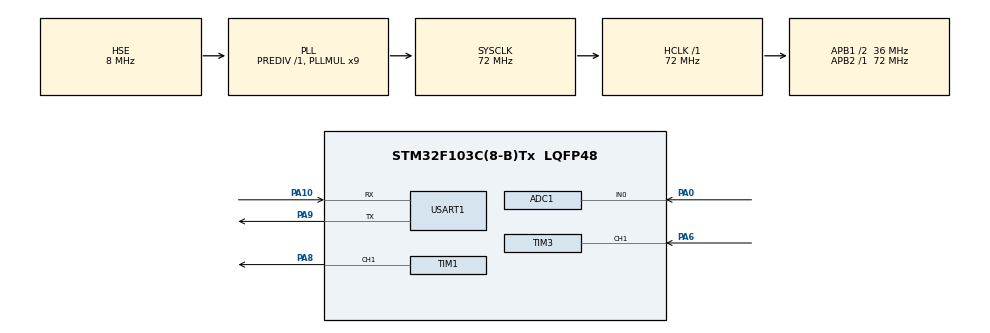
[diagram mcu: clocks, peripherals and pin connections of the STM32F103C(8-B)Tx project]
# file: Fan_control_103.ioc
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ADC1.Channel-0\#ChannelRegularConversion=ADC_CHANNEL_0
ADC1.ContinuousConvMode=ENABLE
ADC1.NbrOfConversionFlag=1
ADC1.Rank-0\#ChannelRegularConversion=1
ADC1.SamplingTime-0\#ChannelRegularConversion=ADC_SAMPLETIME_1CYCLE_5
ADC1.master=1
Dma.ADC1.0.Direction=DMA_PERIPH_TO_MEMORY
Dma.ADC1.0.Instance=DMA1_Channel1
Dma.ADC1.0.MemDataAlignment=DMA_MDATAALIGN_HALFWORD
Dma.ADC1.0.MemInc=DMA_MINC_ENABLE
Dma.ADC1.0.Mode=DMA_CIRCULAR
Dma.ADC1.0.PeriphDataAlignment=DMA_PDATAALIGN_HALFWORD
Dma.ADC1.0.PeriphInc=DMA_PINC_DISABLE
Dma.ADC1.0.Priority=DMA_PRIORITY_LOW
Dma.Request0=ADC1
Dma.Request1=TIM1_CH1
Dma.TIM1_CH1.1.Direction=DMA_MEMORY_TO_PERIPH
Dma.TIM1_CH1.1.Instance=DMA1_Channel2
Dma.TIM1_CH1.1.MemDataAlignment=DMA_MDATAALIGN_HALFWORD
Dma.TIM1_CH1.1.MemInc=DMA_MINC_ENABLE
Dma.TIM1_CH1.1.Mode=DMA_CIRCULAR
Dma.TIM1_CH1.1.PeriphDataAlignment=DMA_PDATAALIGN_HALFWORD
Dma.TIM1_CH1.1.PeriphInc=DMA_PINC_DISABLE
Dma.TIM1_CH1.1.Priority=DMA_PRIORITY_LOW
FREERTOS.Tasks01=defaultTask,0,256,StartDefaultTask,Default,NULL,Static,defaultTaskBuffer,defaultTaskControlBlock;my_PWM_Task,0,256,Start_PWM_Task,Default,NULL,Static,my_PWM_TaskBuffer,my_PWM_TaskControlBlock;my_ADC_Task,0,256,Start_ADC_Task,Default,NULL,Static,my_ADC_TaskBuffer,my_ADC_TaskControlBlock
FREERTOS.configUSE_NEWLIB_REENTRANT=1
Mcu.Family=STM32F1
Mcu.Name=STM32F103C(8-B)Tx
Mcu.Package=LQFP48
NVIC.DMA1_Channel1_IRQn=true\:5\:0\:false\:false\:true\:true\:false\:true\:true
NVIC.DMA1_Channel2_IRQn=true\:5\:0\:false\:false\:true\:true\:false\:true\:true
NVIC.PriorityGroup=NVIC_PRIORITYGROUP_4
NVIC.TIM3_IRQn=true\:5\:0\:false\:false\:true\:true\:true\:true\:true
NVIC.TIM4_IRQn=true\:15\:0\:false\:false\:true\:false\:false\:true\:true
NVIC.TimeBase=TIM4_IRQn
NVIC.TimeBaseIP=TIM4
PA0-WKUP.Signal=ADCx_IN0
PA10.Mode=Asynchronous
PA10.Signal=USART1_RX
PA13.Mode=Serial_Wire
PA13.Signal=SYS_JTMS-SWDIO
PA14.Mode=Serial_Wire
PA14.Signal=SYS_JTCK-SWCLK
PA6.Signal=S_TIM3_CH1
PA8.Signal=S_TIM1_CH1
PA9.Mode=Asynchronous
PA9.Signal=USART1_TX
PD0-OSC_IN.Mode=HSE-External-Oscillator
PD0-OSC_IN.Signal=RCC_OSC_IN
PD1-OSC_OUT.Mode=HSE-External-Oscillator
PD1-OSC_OUT.Signal=RCC_OSC_OUT
ProjectManager.HeapSize=0x200
ProjectManager.StackSize=0x400
ProjectManager.TargetToolchain=STM32CubeIDE
RCC.ADCPresc=RCC_ADCPCLK2_DIV6
RCC.AHBFreq_Value=72000000
RCC.APB1CLKDivider=RCC_HCLK_DIV2
RCC.APB1Freq_Value=36000000
RCC.APB1TimFreq_Value=72000000
RCC.APB2Freq_Value=72000000
RCC.APB2TimFreq_Value=72000000
RCC.HCLKFreq_Value=72000000
RCC.PLLMUL=RCC_PLL_MUL9
RCC.PLLSourceVirtual=RCC_PLLSOURCE_HSE
RCC.SYSCLKFreq_VALUE=72000000
RCC.SYSCLKSource=RCC_SYSCLKSOURCE_PLLCLK
RCC.USBFreq_Value=72000000
SH.ADCx_IN0.0=ADC1_IN0,IN0
SH.S_TIM1_CH1.0=TIM1_CH1,PWM Generation1 CH1
SH.S_TIM3_CH1.0=TIM3_CH1,Input_Capture1_from_TI1
TIM1.Channel-PWM\ Generation1\ CH1=TIM_CHANNEL_1
TIM1.Period=100-1
TIM1.Prescaler=71-1
TIM3.Channel-Input_Capture1_from_TI1=TIM_CHANNEL_1
TIM3.Prescaler=7199
TIM3.TIM_MasterOutputTrigger=TIM_TRGO_UPDATE
USART1.VirtualMode=VM_ASYNC
VP_FREERTOS_VS_CMSIS_V1.Mode=CMSIS_V1
VP_SYS_VS_tim4.Mode=TIM4
VP_TIM1_VS_ClockSourceINT.Mode=Internal
VP_TIM2_VS_ClockSourceITR.Mode=TriggerSource_ITR2
VP_TIM2_VS_ControllerModeClock.Mode=Clock Mode
board=custom

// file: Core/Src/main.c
/* USER CODE BEGIN Header */
/**
  ******************************************************************************
  * @file           : main.c
  * @brief          : Main program body
  ******************************************************************************
  * @attention
  *
  * Copyright (c) 2023 STMicroelectronics.
  * All rights reserved.
  *
  * This software is licensed under terms that can be found in the LICENSE file
  * in the root directory of this software component.
  * If no LICENSE file comes with this software, it is provided AS-IS.
  *
  ******************************************************************************
  */
/* USER CODE END Header */
#include "main.h"
#include "cmsis_os.h"

/* USER CODE BEGIN Includes */
#include <stdio.h>/* для printf */
#include <string.h>
/************** PWM *******************/
 uint16_t pwmData[1];
/************** ADC *******************/
#define ADC_BUF_LED 100 //4096
uint16_t adc_buf[ADC_BUF_LED];

/************** Tahometr *******************/
volatile uint8_t count = 0;
/* USER CODE END Includes */

ADC_HandleTypeDef hadc1;
DMA_HandleTypeDef hdma_adc1;

TIM_HandleTypeDef htim1;
TIM_HandleTypeDef htim2;
TIM_HandleTypeDef htim3;
DMA_HandleTypeDef hdma_tim1_ch1;

UART_HandleTypeDef huart1;

osThreadId defaultTaskHandle;
uint32_t defaultTaskBuffer[ 256 ];
osStaticThreadDef_t defaultTaskControlBlock;
osThreadId my_PWM_TaskHandle;
uint32_t my_PWM_TaskBuffer[ 256 ];
osStaticThreadDef_t my_PWM_TaskControlBlock;
osThreadId my_ADC_TaskHandle;
uint32_t my_ADC_TaskBuffer[ 256 ];
osStaticThreadDef_t my_ADC_TaskControlBlock;

void SystemClock_Config(void);
static void MX_GPIO_Init(void);
static void MX_DMA_Init(void);
static void MX_ADC1_Init(void);
static void MX_TIM1_Init(void);
static void MX_TIM2_Init(void);
static void MX_TIM3_Init(void);
static void MX_USART1_UART_Init(void);
void StartDefaultTask(void const * argument);
void Start_PWM_Task(void const * argument);
void Start_ADC_Task(void const * argument);

/* USER CODE BEGIN PFP */
int _write(int file, char *ptr, int len) {
	int i;
	HAL_UART_Transmit(&huart1, (uint8_t*) ptr, len, 50);
	for (i = 0; i < len; i++) {
		ITM_SendChar(*ptr++);
	}
	return len;
}
/* USER CODE END PFP */

/* USER CODE BEGIN 0 */
/************** Медианный фильтр *******************/
float median(float newVal)
{
    static float buf[3];
    static int count = 0;
    buf[count] = newVal;
    if (++count > 2)
        count = 0;

    float a = buf[0];
    float b = buf[1];
    float c = buf[2];

    float middle;
    if ((a <= b) && (a <= c))
    {
        middle = (b <= c) ? b : c;
    }
    else
    {
        if ((b <= a) && (b <= c))
        {
            middle = (a <= c) ? a : c;
        }
        else
        {
            middle = (a <= b) ? a : b;
        }
    }
    return middle;
}

void HAL_TIM_IC_CaptureCallback(TIM_HandleTypeDef *htim)
{
	if(htim == &htim3)
	{
		if(htim->Channel == HAL_TIM_ACTIVE_CHANNEL_1)
		{
			count++;

			if(count == 1)
			{
				__HAL_TIM_SET_COUNTER(&htim3, 0x0000);
				__HAL_TIM_SET_COUNTER(&htim2, 0x0000);
			}

			else if(count == 2)
			{
				HAL_TIM_IC_Stop_IT(&htim3, TIM_CHANNEL_1);

				count = 0;

				uint16_t count_main = HAL_TIM_ReadCapturedValue(&htim3, TIM_CHANNEL_1);
				uint16_t count_secondary = __HAL_TIM_GET_COUNTER(&htim2);
				uint16_t arr = __HAL_TIM_GET_AUTORELOAD(&htim2);
				uint32_t res = count_main + (count_secondary * arr) + count_secondary;

				float freq = 1 / (res / 1000000.0);

				char str[96] = {0,};
				//snprintf(str, 96, "Capture Freq: %.3f Hz | res: %lu | cm: %d | cs: %d\n", (float)freq, res, count_main, count_secondary);
				freq = median(freq);

				snprintf(str, 96, "Capture Freq: %.3f Hz\n", (float)freq);
				HAL_UART_Transmit(&huart1, (uint8_t*)str, strlen(str), 1000);

				HAL_TIM_IC_Start_IT(&htim3, TIM_CHANNEL_1);
			}
		}
	}
}
/* USER CODE END 0 */

int main(void)
{

  /* MCU Configuration--------------------------------------------------------*/

  /* Reset of all peripherals, Initializes the Flash interface and the Systick. */
  HAL_Init();

  /* Configure the system clock */
  SystemClock_Config();

  /* Initialize all configured peripherals */
  MX_GPIO_Init();
  MX_DMA_Init();
  MX_ADC1_Init();
  MX_TIM1_Init();
  MX_TIM2_Init();
  MX_TIM3_Init();
  MX_USART1_UART_Init();

  /* Create the thread(s) */
  /* definition and creation of defaultTask */
  osThreadStaticDef(defaultTask, StartDefaultTask, osPriorityNormal, 0, 256, defaultTaskBuffer, &defaultTaskControlBlock);
  defaultTaskHandle = osThreadCreate(osThread(defaultTask), NULL);

  /* definition and creation of my_PWM_Task */
  osThreadStaticDef(my_PWM_Task, Start_PWM_Task, osPriorityNormal, 0, 256, my_PWM_TaskBuffer, &my_PWM_TaskControlBlock);
  my_PWM_TaskHandle = osThreadCreate(osThread(my_PWM_Task), NULL);

  /* definition and creation of my_ADC_Task */
  osThreadStaticDef(my_ADC_Task, Start_ADC_Task, osPriorityNormal, 0, 256, my_ADC_TaskBuffer, &my_ADC_TaskControlBlock);
  my_ADC_TaskHandle = osThreadCreate(osThread(my_ADC_Task), NULL);

  /* USER CODE BEGIN RTOS_THREADS */
  /* add threads, ... */
  printf("Hello world! \r\n");
  /* USER CODE END RTOS_THREADS */

  /* Start scheduler */
  osKernelStart();
  /* We should never get here as control is now taken by the scheduler */
  /* Infinite loop */
  while (1)
  {

  }
}

void SystemClock_Config(void)
{
  RCC_OscInitTypeDef RCC_OscInitStruct = {0};
  RCC_ClkInitTypeDef RCC_ClkInitStruct = {0};
  RCC_PeriphCLKInitTypeDef PeriphClkInit = {0};

  /** Initializes the RCC Oscillators according to the specified parameters
  * in the RCC_OscInitTypeDef structure.
  */
  RCC_OscInitStruct.OscillatorType = RCC_OSCILLATORTYPE_HSE;
  RCC_OscInitStruct.HSEState = RCC_HSE_ON;
  RCC_OscInitStruct.HSEPredivValue = RCC_HSE_PREDIV_DIV1;
  RCC_OscInitStruct.HSIState = RCC_HSI_ON;
  RCC_OscInitStruct.PLL.PLLState = RCC_PLL_ON;
  RCC_OscInitStruct.PLL.PLLSource = RCC_PLLSOURCE_HSE;
  RCC_OscInitStruct.PLL.PLLMUL = RCC_PLL_MUL9;
  if (HAL_RCC_OscConfig(&RCC_OscInitStruct) != HAL_OK)
  {
    Error_Handler();
  }

  /** Initializes the CPU, AHB and APB buses clocks
  */
  RCC_ClkInitStruct.ClockType = RCC_CLOCKTYPE_HCLK|RCC_CLOCKTYPE_SYSCLK
                              |RCC_CLOCKTYPE_PCLK1|RCC_CLOCKTYPE_PCLK2;
  RCC_ClkInitStruct.SYSCLKSource = RCC_SYSCLKSOURCE_PLLCLK;
  RCC_ClkInitStruct.AHBCLKDivider = RCC_SYSCLK_DIV1;
  RCC_ClkInitStruct.APB1CLKDivider = RCC_HCLK_DIV2;
  RCC_ClkInitStruct.APB2CLKDivider = RCC_HCLK_DIV1;

  if (HAL_RCC_ClockConfig(&RCC_ClkInitStruct, FLASH_LATENCY_2) != HAL_OK)
  {
    Error_Handler();
  }
  PeriphClkInit.PeriphClockSelection = RCC_PERIPHCLK_ADC;
  PeriphClkInit.AdcClockSelection = RCC_ADCPCLK2_DIV6;
  if (HAL_RCCEx_PeriphCLKConfig(&PeriphClkInit) != HAL_OK)
  {
    Error_Handler();
  }
}

static void MX_ADC1_Init(void)
{

  ADC_ChannelConfTypeDef sConfig = {0};

  /** Common config
  */
  hadc1.Instance = ADC1;
  hadc1.Init.ScanConvMode = ADC_SCAN_DISABLE;
  hadc1.Init.ContinuousConvMode = ENABLE;
  hadc1.Init.DiscontinuousConvMode = DISABLE;
  hadc1.Init.ExternalTrigConv = ADC_SOFTWARE_START;
  hadc1.Init.DataAlign = ADC_DATAALIGN_RIGHT;
  hadc1.Init.NbrOfConversion = 1;
  if (HAL_ADC_Init(&hadc1) != HAL_OK)
  {
    Error_Handler();
  }

  /** Configure Regular Channel
  */
  sConfig.Channel = ADC_CHANNEL_0;
  sConfig.Rank = ADC_REGULAR_RANK_1;
  sConfig.SamplingTime = ADC_SAMPLETIME_1CYCLE_5;
  if (HAL_ADC_ConfigChannel(&hadc1, &sConfig) != HAL_OK)
  {
    Error_Handler();
  }

}

static void MX_TIM1_Init(void)
{

  TIM_ClockConfigTypeDef sClockSourceConfig = {0};
  TIM_MasterConfigTypeDef sMasterConfig = {0};
  TIM_OC_InitTypeDef sConfigOC = {0};
  TIM_BreakDeadTimeConfigTypeDef sBreakDeadTimeConfig = {0};

  htim1.Instance = TIM1;
  htim1.Init.Prescaler = 71-1;
  htim1.Init.CounterMode = TIM_COUNTERMODE_UP;
  htim1.Init.Period = 100-1;
  htim1.Init.ClockDivision = TIM_CLOCKDIVISION_DIV1;
  htim1.Init.RepetitionCounter = 0;
  htim1.Init.AutoReloadPreload = TIM_AUTORELOAD_PRELOAD_DISABLE;
  if (HAL_TIM_Base_Init(&htim1) != HAL_OK)
  {
    Error_Handler();
  }
  sClockSourceConfig.ClockSource = TIM_CLOCKSOURCE_INTERNAL;
  if (HAL_TIM_ConfigClockSource(&htim1, &sClockSourceConfig) != HAL_OK)
  {
    Error_Handler();
  }
  if (HAL_TIM_PWM_Init(&htim1) != HAL_OK)
  {
    Error_Handler();
  }
  sMasterConfig.MasterOutputTrigger = TIM_TRGO_RESET;
  sMasterConfig.MasterSlaveMode = TIM_MASTERSLAVEMODE_DISABLE;
  if (HAL_TIMEx_MasterConfigSynchronization(&htim1, &sMasterConfig) != HAL_OK)
  {
    Error_Handler();
  }
  sConfigOC.OCMode = TIM_OCMODE_PWM1;
  sConfigOC.Pulse = 0;
  sConfigOC.OCPolarity = TIM_OCPOLARITY_HIGH;
  sConfigOC.OCNPolarity = TIM_OCNPOLARITY_HIGH;
  sConfigOC.OCFastMode = TIM_OCFAST_DISABLE;
  sConfigOC.OCIdleState = TIM_OCIDLESTATE_RESET;
  sConfigOC.OCNIdleState = TIM_OCNIDLESTATE_RESET;
  if (HAL_TIM_PWM_ConfigChannel(&htim1, &sConfigOC, TIM_CHANNEL_1) != HAL_OK)
  {
    Error_Handler();
  }
  sBreakDeadTimeConfig.OffStateRunMode = TIM_OSSR_DISABLE;
  sBreakDeadTimeConfig.OffStateIDLEMode = TIM_OSSI_DISABLE;
  sBreakDeadTimeConfig.LockLevel = TIM_LOCKLEVEL_OFF;
  sBreakDeadTimeConfig.DeadTime = 0;
  sBreakDeadTimeConfig.BreakState = TIM_BREAK_DISABLE;
  sBreakDeadTimeConfig.BreakPolarity = TIM_BREAKPOLARITY_HIGH;
  sBreakDeadTimeConfig.AutomaticOutput = TIM_AUTOMATICOUTPUT_DISABLE;
  if (HAL_TIMEx_ConfigBreakDeadTime(&htim1, &sBreakDeadTimeConfig) != HAL_OK)
  {
    Error_Handler();
  }
  HAL_TIM_MspPostInit(&htim1);

}

static void MX_TIM2_Init(void)
{

  TIM_SlaveConfigTypeDef sSlaveConfig = {0};
  TIM_MasterConfigTypeDef sMasterConfig = {0};

  htim2.Instance = TIM2;
  htim2.Init.Prescaler = 0;
  htim2.Init.CounterMode = TIM_COUNTERMODE_UP;
  htim2.Init.Period = 65535;
  htim2.Init.ClockDivision = TIM_CLOCKDIVISION_DIV1;
  htim2.Init.AutoReloadPreload = TIM_AUTORELOAD_PRELOAD_DISABLE;
  if (HAL_TIM_Base_Init(&htim2) != HAL_OK)
  {
    Error_Handler();
  }
  sSlaveConfig.SlaveMode = TIM_SLAVEMODE_EXTERNAL1;
  sSlaveConfig.InputTrigger = TIM_TS_ITR2;
  if (HAL_TIM_SlaveConfigSynchro(&htim2, &sSlaveConfig) != HAL_OK)
  {
    Error_Handler();
  }
  sMasterConfig.MasterOutputTrigger = TIM_TRGO_RESET;
  sMasterConfig.MasterSlaveMode = TIM_MASTERSLAVEMODE_DISABLE;
  if (HAL_TIMEx_MasterConfigSynchronization(&htim2, &sMasterConfig) != HAL_OK)
  {
    Error_Handler();
  }

}

static void MX_TIM3_Init(void)
{

  TIM_MasterConfigTypeDef sMasterConfig = {0};
  TIM_IC_InitTypeDef sConfigIC = {0};

  htim3.Instance = TIM3;
  htim3.Init.Prescaler = 7199;
  htim3.Init.CounterMode = TIM_COUNTERMODE_UP;
  htim3.Init.Period = 65535;
  htim3.Init.ClockDivision = TIM_CLOCKDIVISION_DIV1;
  htim3.Init.AutoReloadPreload = TIM_AUTORELOAD_PRELOAD_DISABLE;
  if (HAL_TIM_IC_Init(&htim3) != HAL_OK)
  {
    Error_Handler();
  }
  sMasterConfig.MasterOutputTrigger = TIM_TRGO_UPDATE;
  sMasterConfig.MasterSlaveMode = TIM_MASTERSLAVEMODE_DISABLE;
  if (HAL_TIMEx_MasterConfigSynchronization(&htim3, &sMasterConfig) != HAL_OK)
  {
    Error_Handler();
  }
  sConfigIC.ICPolarity = TIM_INPUTCHANNELPOLARITY_RISING;
  sConfigIC.ICSelection = TIM_ICSELECTION_DIRECTTI;
  sConfigIC.ICPrescaler = TIM_ICPSC_DIV1;
  sConfigIC.ICFilter = 0;
  if (HAL_TIM_IC_ConfigChannel(&htim3, &sConfigIC, TIM_CHANNEL_1) != HAL_OK)
  {
    Error_Handler();
  }

}

static void MX_USART1_UART_Init(void)
{

  huart1.Instance = USART1;
  huart1.Init.BaudRate = 115200;
  huart1.Init.WordLength = UART_WORDLENGTH_8B;
  huart1.Init.StopBits = UART_STOPBITS_1;
  huart1.Init.Parity = UART_PARITY_NONE;
  huart1.Init.Mode = UART_MODE_TX_RX;
  huart1.Init.HwFlowCtl = UART_HWCONTROL_NONE;
  huart1.Init.OverSampling = UART_OVERSAMPLING_16;
  if (HAL_UART_Init(&huart1) != HAL_OK)
  {
    Error_Handler();
  }

}

static void MX_DMA_Init(void)
{

  /* DMA controller clock enable */
  __HAL_RCC_DMA1_CLK_ENABLE();

  /* DMA interrupt init */
  /* DMA1_Channel1_IRQn interrupt configuration */
  HAL_NVIC_SetPriority(DMA1_Channel1_IRQn, 5, 0);
  HAL_NVIC_EnableIRQ(DMA1_Channel1_IRQn);
  /* DMA1_Channel2_IRQn interrupt configuration */
  HAL_NVIC_SetPriority(DMA1_Channel2_IRQn, 5, 0);
  HAL_NVIC_EnableIRQ(DMA1_Channel2_IRQn);

}

static void MX_GPIO_Init(void)
{

  /* GPIO Ports Clock Enable */
  __HAL_RCC_GPIOD_CLK_ENABLE();
  __HAL_RCC_GPIOA_CLK_ENABLE();

}

void StartDefaultTask(void const * argument)
{
  /* USER CODE BEGIN 5 */
	HAL_TIM_IC_Start_IT(&htim3, TIM_CHANNEL_1);
  /* Infinite loop */
  for(;;)
  {
    osDelay(1);
  }
  /* USER CODE END 5 */
}

void Start_PWM_Task(void const * argument)
{
  /* USER CODE BEGIN Start_PWM_Task */
	/************** PWM *******************/
		  pwmData[0] = 70;
	//	  pwmData[1] = 20;
	//	  pwmData[2] = 30;
	//	  pwmData[3] = 40;
	//	  pwmData[4] = 50;
	//	  pwmData[5] = 60;
	//	  pwmData[6] = 70;
	//	  pwmData[7] = 80;
	//	  pwmData[8] = 90;
	//	  pwmData[9] = 100;

	//	  HAL_TIM_PWM_Stop_DMA(&htim1, TIM_CHANNEL_1);
		  /************** Map *******************/
	      int16_t value = 0; // For function "map" from analogRead(0);
	      int16_t in_max = 4050; // было 4095
		    int8_t in_min = 0;  // было 0
		    unsigned char out_max = 100;
		    int8_t out_min = 0;
  /* Infinite loop */
  for(;;)
  {
	    value = (adc_buf[0] - in_min) * (out_max - out_min) / (in_max - in_min) + out_min; // Function map
	    pwmData[0] = value;
		  HAL_TIM_PWM_Start_DMA(&htim1, TIM_CHANNEL_1, (uint32_t *)pwmData, 1);
	    printf("pwmData[0] = %d\r\n",pwmData[0]);
	    osDelay(1000);
  }
  /* USER CODE END Start_PWM_Task */
}

void Start_ADC_Task(void const * argument)
{
  /* USER CODE BEGIN Start_ADC_Task */
	  HAL_ADC_Start_DMA(&hadc1, (uint32_t*)adc_buf, ADC_BUF_LED);
  /* Infinite loop */
  for(;;)
  {
	  printf("adc_buf = %u\r\n",(unsigned int)adc_buf[0]);
    osDelay(1000);
  }
  /* USER CODE END Start_ADC_Task */
}

void HAL_TIM_PeriodElapsedCallback(TIM_HandleTypeDef *htim)
{
  if (htim->Instance == TIM4) {
    HAL_IncTick();
  }
}

void Error_Handler(void)
{
  __disable_irq();
  while (1)
  {
  }
}
